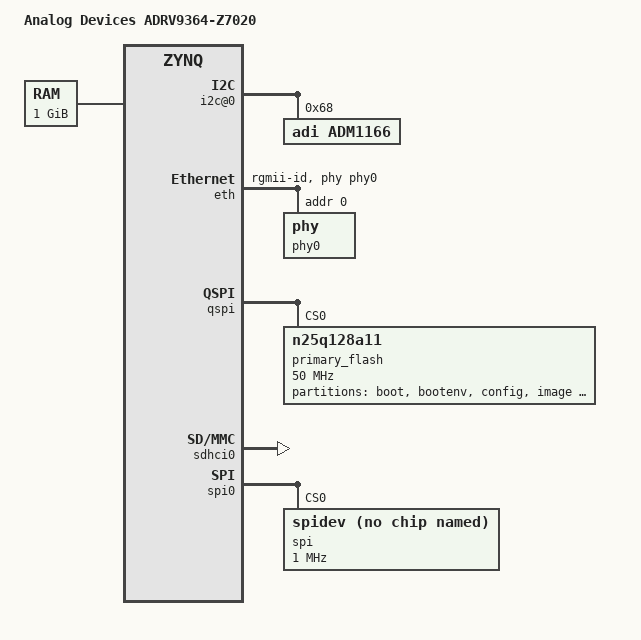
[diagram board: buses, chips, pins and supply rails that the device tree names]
/dts-v1/;
/include/ "zynq.dtsi"

/ {
	model = "Analog Devices ADRV9364-Z7020";
	memory {
		device_type = "memory";
		reg = <0x00000000 0x40000000>;
	};

	chosen {
		linux,stdout-path = "/amba@0/uart@E0001000";
	};

	clocks {
		usb_ulpi_fixed_clk: clock@1 {
			#clock-cells = <0>;
			compatible = "fixed-clock";
			clock-frequency = <24000000>;
			clock-output-names = "24MHz";
		};

		usb_ulpi_clk: clock@2 {
			compatible = "gpio-gate-clock";
			clocks = <&usb_ulpi_fixed_clk>;
			#clock-cells = <0>;
			enable-gpios = <&gpio0 9 1>; /* Active  Low */
		};
	};
};

&eth {
	phy-handle = <&phy0>;
	phy-mode = "rgmii-id";

	phy0: phy@0 {
		device_type = "ethernet-phy";
		reg = <0x0>;
		marvell,reg-init = <3 16 0xff00 0x1e 3 17 0xfff0 0x00>;
	};
};

&usb0 {
	xlnx,phy-reset-gpio = <&gpio0 7 0>;
};

&qspi {
	status = "okay";
	is-dual = <0>;
	num-cs = <1>;
	primary_flash: ps7-qspi@0 {
		#address-cells = <1>;
		#size-cells = <1>;
		spi-tx-bus-width = <1>;
		spi-rx-bus-width = <4>;
		compatible = "n25q128a11"; /* same as S25FL128 */
		reg = <0x0>;
		spi-max-frequency = <50000000>;
		partition@0x00000000 {
			label = "boot";
			reg = <0x00000000 0x00500000>;
		};
		partition@0x00500000 {
			label = "bootenv";
			reg = <0x00500000 0x00020000>;
		};
		partition@0x00520000 {
			label = "config";
			reg = <0x00520000 0x00020000>;
		};
		partition@0x00540000 {
			label = "image";
			reg = <0x00540000 0x00a80000>;
		};
		partition@0x00fc0000 {
			label = "spare";
			reg = <0x00fc0000 0x00000000>;
		};
	};
};

&sdhci0 {
	status = "okay";
	disable-wp;
};

/ {
	fpga_axi: fpga-axi@0 {
		compatible = "simple-bus";
		#address-cells = <0x1>;
		#size-cells = <0x1>;
		ranges;

		i2c@0 {
			compatible = "xlnx,axi-iic-1.02.a", "xlnx,xps-iic-2.00.a";
			reg = <0x41600000 0x10000>;
			interrupt-parent = <&intc>;
			interrupts = <0 58 4>;
			clocks = <&clkc 15>;
			clock-names = "pclk";

			#address-cells = <1>;
			#size-cells = <0>;

			adm1166: adm1166@68 {
				compatible = "adi,adm1166";
				reg = <0x68>;
			};
		};

		ad9361@79020000 {
			compatible = "dmem-uio";
			reg = <0x79020000 0x6000>;
		};

		rx_dma@7c400000 {
			compatible = "dmem-uio";
			reg = <0x7c400000 0x10000>;
			uio,number-of-dynamic-regions = <1>;
			uio,dynamic-regions-sizes = <262144>;
		};

		tx_dma@7c420000 {
			compatible = "dmem-uio";
			reg = <0x7c420000 0x10000>;
			uio,number-of-dynamic-regions = <1>;
			uio,dynamic-regions-sizes = <262144>;
		};
	};
};

&spi0 {
	status = "okay";

	spi@0 {
		compatible = "spidev";
		spi-cpha;
		reg = <0x0>;
		spi-max-frequency = <1000000>;
	};
};
